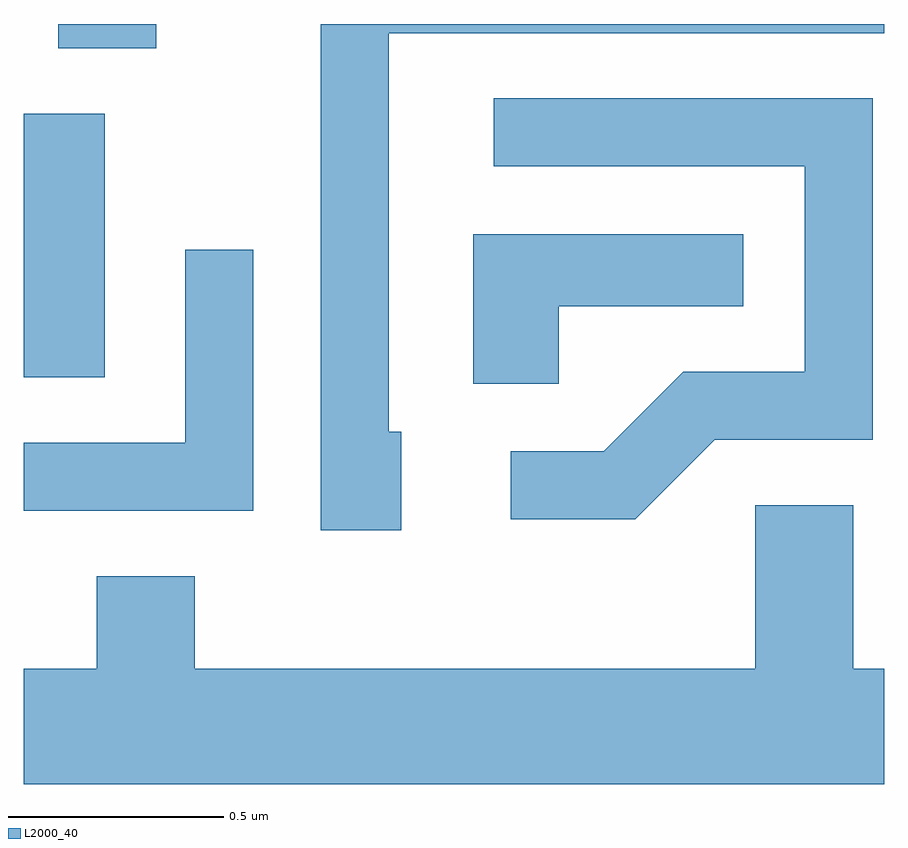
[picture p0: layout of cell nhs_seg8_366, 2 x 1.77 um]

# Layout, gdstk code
import gdstk
lib = gdstk.Library(unit=1e-6, precision=1e-09)
def R(c, l, rs):  # rectangles x0, y0, x1, y1
    for r in rs: c.add(gdstk.rectangle(r[:2], r[2:], *l))
def P(c, l, *ps):  # polygons
    for p in ps: c.add(gdstk.Polygon(p, *l))
L2000_40 = (2000, 40)

nhs_seg8_366 = lib.new_cell('nhs_seg8_366')
R(nhs_seg8_366, L2000_40, [(187.611,1899.521,187.799,1900.134), (187.691,1900.286,187.919,1900.342)])
P(nhs_seg8_366, L2000_40, [(188.489,1899.394),(188.459,1899.394),(188.459,1900.321),(189.611,1900.321),(189.611,1900.342),(188.301,1900.342),(188.301,1899.166),(188.489,1899.166)],
  [(189.217,1899.376),(189.584,1899.376),(189.584,1900.169),(188.703,1900.169),(188.703,1900.011),(189.426,1900.011),(189.426,1899.534),(189.144,1899.534),(188.959,1899.349),(188.743,1899.349),(188.743,1899.191),(189.032,1899.191)],
  [(188.854,1899.686),(189.283,1899.686),(189.283,1899.854),(188.656,1899.854),(188.656,1899.506),(188.854,1899.506)],
  [(188.144,1899.818),(187.986,1899.818),(187.986,1899.369),(187.611,1899.369),(187.611,1899.211),(188.144,1899.211)],
  [(189.611,1898.844),(189.539,1898.844),(189.539,1899.224),(189.311,1899.224),(189.311,1898.844),(188.009,1898.844),(188.009,1899.059),(187.781,1899.059),(187.781,1898.844),(187.611,1898.844),(187.611,1898.576),(189.611,1898.576)])

lib.write_gds('nhs_seg8_366.gds')
